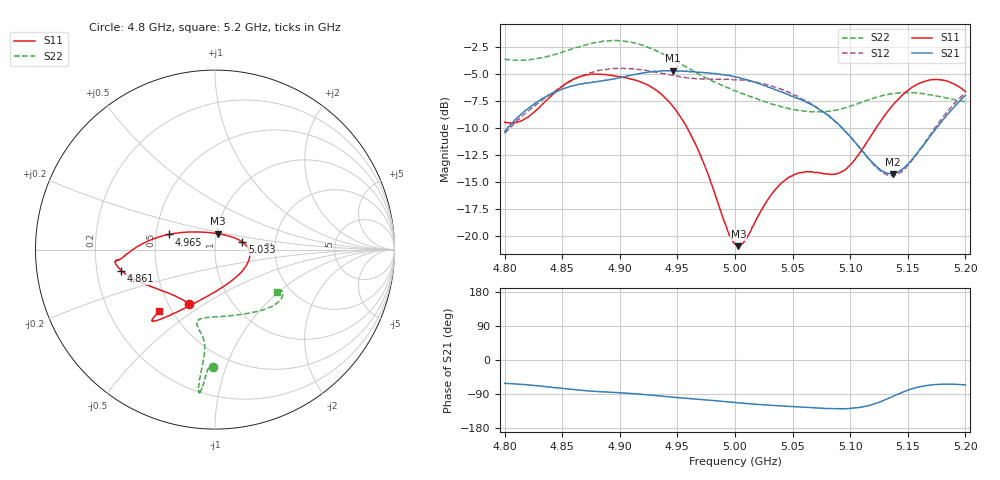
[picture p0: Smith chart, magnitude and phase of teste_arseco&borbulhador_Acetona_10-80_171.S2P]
! Network Analyzer HP8722D
! Hewlett-Packard
! Data name: Linha & Wilkinson
! Saver's name: Rodrigo Anjos
! Comments: Teste da utilização de aquisição
! continua pelo VNA HP8722D
! Time and date: 17/4/2025 15:47
!  Frequency  S11  S21  S12  S22
# HZ  S  MA R 50
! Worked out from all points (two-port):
!   401 points, 4.8 GHz to 5.2 GHz, reference 50 ohm
!   highest |S21| = -4.70 dB at 4.946 GHz (marker M1); lowest = -14.3 dB at 5.137 GHz (marker M2)
!   |S21| within 3 dB of the highest: 4.827 GHz to 5.063 GHz (236.3 MHz wide, 4.78 % of centre); 5.193431 GHz to end of sweep
!   lowest |S11| = -21.0 dB at 5.003 GHz (marker M3), VSWR 1.20, Z = 50.6 + j9.01 ohm
!   |S11| at or under -10 dB: 4.958 GHz to 5.123 GHz (164.2 MHz wide, 3.26 % of centre)
!   |S22| runs from -8.5 to -1.9 dB; largest |S21 - S12| = 0.87
!   S11 on the Smith chart (normalised r, x): 4.8 GHz: 0.63, -0.43; 4.861 GHz: 0.31, -0.10; 4.965 GHz: 0.58, +0.11; 5.033 GHz: 1.35, +0.12; 5.2 GHz: 0.43, -0.37
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4.8e9  0.3351 -115.4  0.3037 -61.6  0.2977 -175.8  0.6564 -90.8
4.819e9  0.3512 -135.4  0.383 -65.5  0.3713 -175.0  0.6524 -92.4
4.861e9  0.5349 -167.3  0.4971 -78.4  0.5319 -178.3  0.7383 -94.9
4.867e9  0.5488 -169.7  0.5048 -80.2  0.5478 -179.5  0.7565 -94.9
4.899e9  0.5444 -173.9  0.5371 -86.4  0.5957 174.1  0.7995 -96.4
4.934e9  0.4614 -179.9  0.5774 -94.7  0.5688 170.9  0.708 -96.7
4.946e9  0.3975 174.7  0.5819 -98.2  0.5525 171.1  0.6561 -96.3
4.965e9  0.2703 161.8  0.5756 -103.1  0.535 172.8  0.5753 -95.9
4.993e9  0.1078 116.9  0.5544 -110.3  0.5305 175.0  0.4862 -98.4
5e9  0.09152 92.9  0.543 -112.1  0.5282 175.2  0.4679 -99.8
5.003e9  0.08938 81.0  0.5405 -113.0  0.5276 175.0  0.4624 -100.6
5.01e9  0.09664 56.7  0.5264 -114.7  0.5236 174.8  0.4476 -101.9
5.033e9  0.1584 15.3  0.4797 -119.9  0.4903 173.6  0.4061 -103.6
5.049e9  0.1884 -0.3  0.4427 -122.6  0.4547 173.0  0.3862 -99.4
5.067e9  0.1975 -19.5  0.4035 -125.8  0.4065 172.7  0.3742 -89.5
5.096e9  0.2031 -70.1  0.3033 -128.4  0.3036 174.5  0.3915 -66.8
5.121e9  0.3069 -108.9  0.2136 -116.0  0.2111 -170.8  0.4348 -49.6
5.134e9  0.3842 -119.2  0.1938 -100.1  0.1903 -153.1  0.4526 -43.1
5.137e9  0.4024 -120.9  0.1933 -96.0  0.1901 -148.3  0.4551 -41.9
5.149e9  0.4663 -126.1  0.2122 -80.7  0.2085 -130.6  0.4597 -37.4
5.17e9  0.5268 -130.8  0.2913 -66.0  0.2962 -112.2  0.4487 -32.6
5.2e9  0.4648 -132.1  0.4459 -65.7  0.4578 -107.7  0.4161 -34.3
